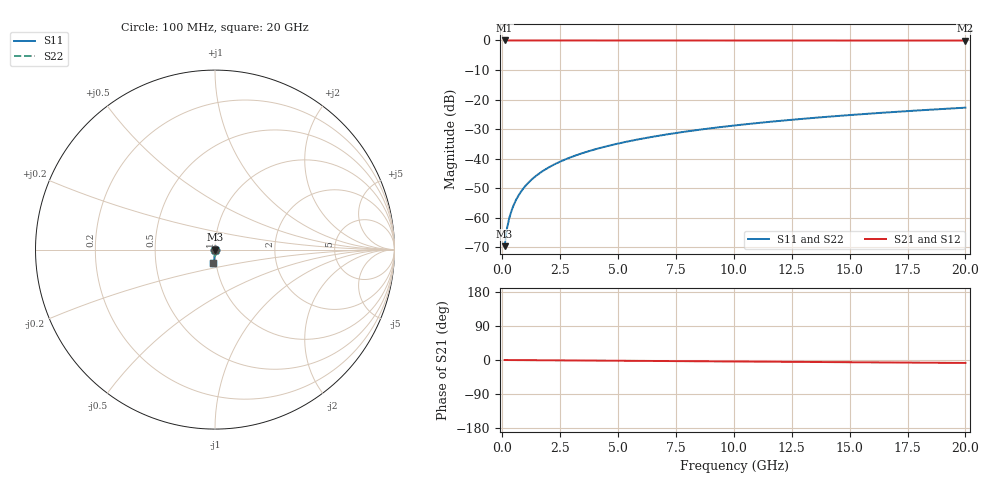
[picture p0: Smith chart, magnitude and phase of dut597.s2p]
! Touchstone file exported from HFSS 2026.1.0
!  File:  C:/ffzhzh/LocalFiles/Ansys_Project_Files/temp_train_TSV_597_1783025387_53980.aedt
!  Generated:  04:51:20 AM Jul  3, 2026
!  Design:  TSV
!  Project:  temp_train_TSV_597_1783025387_53980
! Variables:
!  h_bsmrdl = 2um
!  h_ox = 20um
!  h_rdl = 5um
!  h_sub = 69.03um
!  h_tmrdl = 5um
!  h_tsv = 69.03um
!  h_via = 3um
!  l_bsmrdl = 300um
!  l_sub = 426.1um
!  l_tmrdl = 200um
!  m_sub = 200um
!  pitch = 33.48um
!  r_tsv = 13.05um
!  s_tmrdl = 10um
!  w_bsmrdl = 18um
!  w_sub = 500um
!  w_tmrdl = 12um
!  x_tsv_center1 = 206um
!  x_tsv_center2 = 524um
!  x_tsv_center3 = 736um
!  x_tsv_center4 = 1054um
!  x_tsv_center5 = 1266um
!  x_tsv_center6 = 1584um
# GHz S MA R 50.000000
! Terminal data exported
! Port[1] = TSV1_1_T1
! Port[2] = TSV1_1_T2
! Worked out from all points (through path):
!   200 points, 100 MHz to 20 GHz, reference 50 ohm
!   highest |S21| = 0.00 dB at 100 MHz (marker M1); lowest = 0.0 dB at 20 GHz (marker M2)
!   group delay of S21, straight-line fit = 1.08 ps
!   lowest |S11| = -69.6 dB at 100 MHz (marker M3), VSWR 1.00, Z = 50 - j0.032 ohm
!   |S11| at or under -10 dB: start of sweep to end of sweep
!   |S22| runs from -69.6 to -22.7 dB; largest |S21 - S12| = 2.2e-15
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0.1  0.0003316 -74.7  0.9999 -0.0  0.9999 -0.0  0.0003316 -74.7
! Gamma 0 0 0 0
! Port Impedance 50 0 50 0
0.2  0.0006523 -80.9  0.9999 -0.1  0.9999 -0.1  0.0006523 -80.9
0.3  0.0009839 -82.7  0.9999 -0.1  0.9999 -0.1  0.0009839 -82.7
0.4  0.001324 -83.5  0.9998 -0.2  0.9998 -0.2  0.001324 -83.5
0.5  0.001672 -84.0  0.9998 -0.2  0.9998 -0.2  0.001672 -84.0
0.7  0.002384 -84.8  0.9998 -0.3  0.9998 -0.3  0.002384 -84.8
0.8  0.002744 -85.2  0.9997 -0.3  0.9997 -0.3  0.002744 -85.2
1  0.003469 -85.8  0.9997 -0.4  0.9997 -0.4  0.003469 -85.8
1.2  0.004197 -86.3  0.9997 -0.5  0.9997 -0.5  0.004197 -86.3
1.4  0.004924 -86.8  0.9997 -0.6  0.9997 -0.6  0.004924 -86.8
1.7  0.006016 -87.3  0.9996 -0.7  0.9996 -0.7  0.006016 -87.3
2  0.007106 -87.8  0.9996 -0.8  0.9996 -0.8  0.007106 -87.8
2.7  0.00965 -88.5  0.9995 -1.1  0.9995 -1.1  0.00965 -88.5
3.5  0.01256 -89.2  0.9994 -1.4  0.9994 -1.4  0.01256 -89.2
4.2  0.01511 -89.7  0.9994 -1.7  0.9994 -1.7  0.01511 -89.7
5  0.01804 -90.1  0.9993 -2.0  0.9993 -2.0  0.01804 -90.1
6.8  0.02463 -91.1  0.999 -2.7  0.999 -2.7  0.02463 -91.1
8.3  0.03014 -91.8  0.9988 -3.3  0.9988 -3.3  0.03014 -91.8
10.1  0.03675 -92.7  0.9985 -4.0  0.9985 -4.0  0.03675 -92.7
13.4  0.04885 -94.1  0.9978 -5.2  0.9978 -5.2  0.04885 -94.1
16.7  0.06094 -95.5  0.9971 -6.5  0.9971 -6.5  0.06094 -95.5
20  0.07299 -96.9  0.9961 -7.8  0.9961 -7.8  0.07299 -96.9
